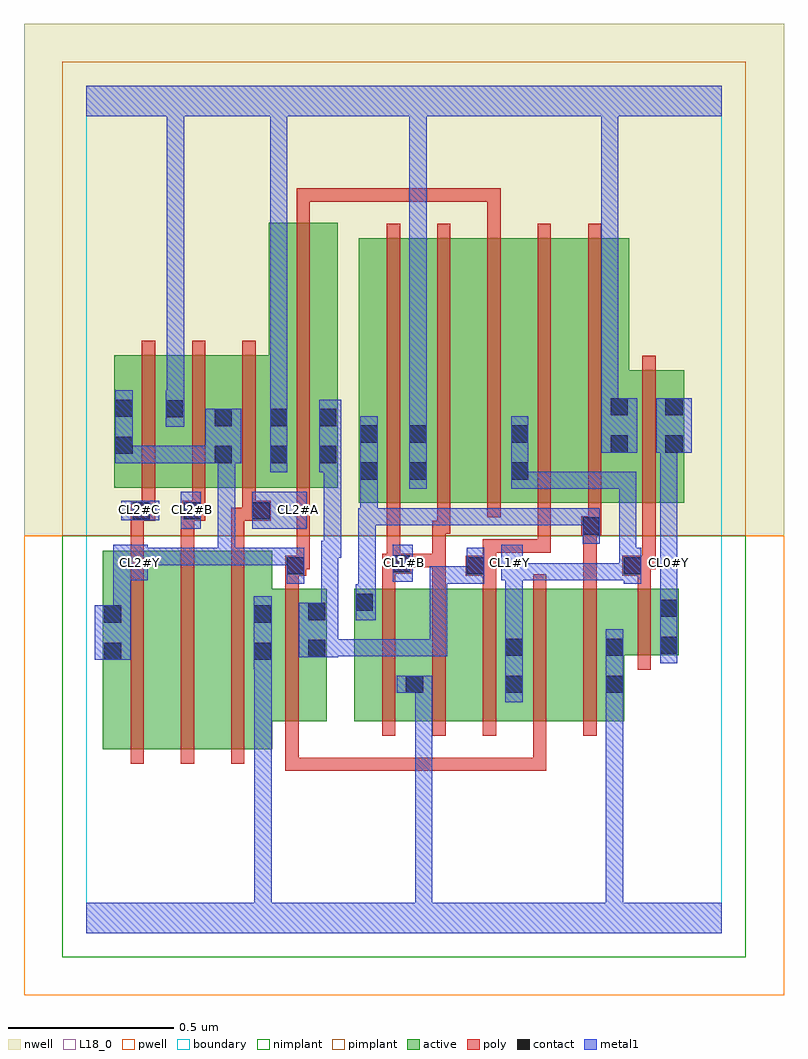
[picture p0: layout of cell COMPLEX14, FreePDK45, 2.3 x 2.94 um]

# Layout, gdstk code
import gdstk
lib = gdstk.Library(unit=1e-6, precision=1e-09)
def R(c, l, rs):  # rectangles x0, y0, x1, y1
    for r in rs: c.add(gdstk.rectangle(r[:2], r[2:], *l))
def A(c, l, x, y, w, h, nx, ny, dx, dy):  # array of equal rectangles
    R(c, l, [(x+i*dx, y+j*dy, x+i*dx+w, y+j*dy+h) for i in range(nx) for j in range(ny)])
active = (1, 0)
pwell = (2, 0)
nwell = (3, 0)
nimplant = (4, 0)
pimplant = (5, 0)
poly = (9, 0)
contact = (10, 0)
metal1 = (11, 0)
L18_0 = (18, 0)
boundary = (235, 0)

complex14 = lib.new_cell('COMPLEX14')
R(complex14, active, [(0.05,0.556,0.23,1.156), (0.05,0.556,0.11,1.156), (0.23,0.556,0.382,1.156), (0.382,0.556,0.562,1.156), (0.502,0.64,0.726,1.04), (0.81,0.64,1.022,1.04), (0.962,0.64,1.142,1.04), (1.142,0.64,1.322,1.04), (1.262,0.64,1.446,1.04), (1.446,0.64,1.626,1.04), (1.566,0.64,1.626,0.894), (0.962,0.722,1.022,1.018), (1.262,0.722,1.322,0.894), (0.502,0.756,0.562,0.994), (0.666,0.756,0.726,1.04), (0.81,0.756,0.87,1.04), (1.566,0.84,1.79,1.04), (1.73,0.84,1.79,1.04), (0.824,1.3,0.884,2.044), (0.824,1.3,1.032,2.1), (0.972,1.3,1.156,2.1), (1.156,1.3,1.34,2.1), (1.28,1.3,1.46,2.1), (1.28,1.3,1.34,2.044), (1.46,1.3,1.64,2.1), (1.58,1.3,1.806,1.7), (1.58,1.3,1.64,1.644), (1.746,1.3,1.806,1.7), (0.084,1.346,0.296,1.746), (0.084,1.346,0.144,1.746), (0.236,1.346,0.296,1.644), (0.236,1.346,0.444,1.746), (0.384,1.346,0.612,1.746), (0.384,1.346,0.444,1.644), (0.552,1.346,0.76,2.146), (0.552,1.346,0.612,1.73), (0.7,1.346,0.76,2.044), (0.972,1.366,1.032,2.044)])
R(complex14, pwell, [(-0.188,-0.188,2.108,1.2)])
R(complex14, nwell, [(-0.188,1.2,2.108,2.748)])
R(complex14, nimplant, [(-0.072,-0.072,1.992,1.2)])
R(complex14, pimplant, [(-0.072,1.2,1.992,2.632)])
A(complex14, poly, 0.134, 0.512, 0.04, 0.688, 3, 1, 0.152, 0)
A(complex14, poly, 0.894, 0.596, 0.04, 0.488, 5, 1, 0.152, 0)
A(complex14, poly, 0.134, 1.16, 0.04, 0.126, 3, 1, 0.152, 0)
A(complex14, poly, 0.908, 1.256, 0.04, 0.888, 5, 1, 0.152, 0)
A(complex14, poly, 0.168, 1.266, 0.04, 0.076, 3, 1, 0.152, 0)
A(complex14, poly, 0.168, 1.302, 0.04, 0.488, 3, 1, 0.152, 0)
R(complex14, poly, [(0.602,0.49,0.642,0.53), (0.602,0.49,0.642,0.636), (0.602,0.49,0.722,0.53), (0.682,0.49,0.722,0.53), (0.682,0.49,0.828,0.53), (0.788,0.49,0.828,0.53), (0.788,0.49,0.828,0.53), (0.788,0.49,0.828,0.53), (0.788,0.49,1.084,0.53), (1.044,0.49,1.084,0.53), (1.044,0.49,1.084,0.53), (1.044,0.49,1.084,0.53), (1.044,0.49,1.192,0.53), (1.152,0.49,1.192,0.53), (1.152,0.49,1.192,0.53), (1.152,0.49,1.192,0.53), (1.152,0.49,1.39,0.53), (1.35,0.49,1.39,0.53), (1.35,0.49,1.39,0.53), (1.35,0.49,1.39,0.53), (1.35,0.49,1.39,0.636), (0.602,0.596,0.642,1.084), (1.666,0.796,1.706,1.084), (0.602,1.044,0.642,1.12), (0.894,1.044,0.934,1.126), (1.046,1.044,1.086,1.146), (1.198,1.044,1.238,1.12), (1.502,1.044,1.542,1.24), (1.666,1.044,1.706,1.12), (0.602,1.08,0.664,1.14), (1.146,1.08,1.238,1.14), (1.62,1.08,1.706,1.14), (0.894,1.086,0.982,1.146), (0.624,1.1,0.664,1.14), (0.624,1.1,0.676,1.14), (0.636,1.1,0.676,1.342), (1.198,1.1,1.238,1.19), (1.666,1.1,1.706,1.14), (1.666,1.1,1.72,1.14), (1.68,1.1,1.72,1.296), (0.908,1.106,0.948,1.146), (0.908,1.106,0.948,1.146), (0.908,1.106,0.948,1.296), (0.942,1.106,0.982,1.146), (0.942,1.106,0.982,1.146), (0.942,1.106,1.086,1.146), (1.046,1.106,1.086,1.146), (1.046,1.106,1.086,1.246), (1.198,1.15,1.238,1.19), (1.198,1.15,1.404,1.19), (1.364,1.15,1.404,1.19), (1.364,1.15,1.404,1.19), (1.364,1.15,1.404,1.19), (1.364,1.15,1.404,1.296), (1.496,1.2,1.556,1.26), (1.502,1.2,1.542,1.24), (1.502,1.2,1.542,1.24), (1.046,1.206,1.1,1.246), (1.06,1.206,1.1,1.296), (1.516,1.22,1.556,1.296), (0.134,1.246,0.176,1.286), (0.136,1.246,0.176,1.286), (0.136,1.246,0.208,1.306), (0.286,1.246,0.33,1.286), (0.29,1.246,0.33,1.286), (0.29,1.246,0.36,1.306), (0.438,1.246,0.512,1.286), (0.472,1.246,0.512,1.286), (0.472,1.246,0.558,1.306), (1.68,1.256,1.72,1.744), (0.636,1.302,0.676,2.19), (1.212,2.104,1.252,2.25), (0.636,2.15,0.676,2.25), (0.636,2.21,0.676,2.25), (0.636,2.21,0.676,2.25), (0.636,2.21,0.676,2.25), (0.636,2.21,0.828,2.25), (0.788,2.21,0.828,2.25), (0.788,2.21,0.828,2.25), (0.788,2.21,0.828,2.25), (0.788,2.21,1.084,2.25), (1.044,2.21,1.084,2.25), (1.044,2.21,1.084,2.25), (1.044,2.21,1.084,2.25), (1.044,2.21,1.252,2.25), (1.212,2.21,1.252,2.25), (1.212,2.21,1.252,2.25), (1.212,2.21,1.252,2.25)])
R(complex14, contact, [(0.966,0.726,1.018,0.778), (1.266,0.726,1.318,0.778), (1.57,0.726,1.622,0.778), (0.054,0.826,0.106,0.878), (0.506,0.826,0.558,0.878), (0.67,0.834,0.722,0.886), (1.266,0.838,1.318,0.89), (1.57,0.838,1.622,0.89), (1.734,0.844,1.786,0.896), (0.054,0.938,0.106,0.99), (0.506,0.938,0.558,0.99), (0.67,0.946,0.722,0.998), (1.734,0.956,1.786,1.008), (0.814,0.974,0.866,1.026), (0.606,1.084,0.658,1.136), (1.15,1.084,1.202,1.136), (1.624,1.084,1.676,1.136), (0.926,1.09,0.978,1.142), (1.5,1.204,1.552,1.256), (0.14,1.25,0.192,1.302), (0.294,1.25,0.346,1.302), (0.502,1.25,0.554,1.302), (0.828,1.37,0.88,1.422), (0.976,1.37,1.028,1.422), (1.284,1.37,1.336,1.422), (0.388,1.42,0.44,1.472), (0.556,1.42,0.608,1.472), (0.704,1.42,0.756,1.472), (0.088,1.448,0.14,1.5), (1.584,1.452,1.636,1.504), (1.75,1.452,1.802,1.504), (0.828,1.482,0.88,1.534), (0.976,1.482,1.028,1.534), (1.284,1.482,1.336,1.534), (0.388,1.532,0.44,1.584), (0.556,1.532,0.608,1.584), (0.704,1.532,0.756,1.584), (0.24,1.558,0.292,1.61), (0.088,1.56,0.14,1.612), (1.584,1.564,1.636,1.616), (1.75,1.564,1.802,1.616)])
R(complex14, metal1, [(0,0,1.92,0.092), (0.508,0.04,0.56,0.092), (0.508,0.04,0.56,0.092), (0.508,0.04,0.56,0.85), (0.994,0.04,1.046,0.092), (0.994,0.04,1.046,0.092), (0.994,0.04,1.046,0.092), (0.994,0.04,1.046,0.092), (0.994,0.04,1.046,0.092), (0.994,0.04,1.046,0.092), (0.994,0.04,1.046,0.092), (0.994,0.04,1.046,0.092), (0.994,0.04,1.046,0.092), (0.994,0.04,1.046,0.092), (0.994,0.04,1.046,0.092), (0.994,0.04,1.046,0.092), (0.994,0.04,1.046,0.778), (1.57,0.04,1.622,0.092), (1.57,0.04,1.622,0.092), (1.57,0.04,1.622,0.092), (1.57,0.04,1.622,0.092), (1.57,0.04,1.622,0.75), (1.266,0.698,1.318,0.918), (1.57,0.698,1.622,0.75), (1.57,0.698,1.622,0.75), (1.57,0.698,1.622,0.75), (1.57,0.698,1.622,0.75), (1.57,0.698,1.622,0.75), (1.57,0.698,1.622,0.75), (1.57,0.698,1.622,0.75), (1.57,0.698,1.622,0.75), (1.57,0.698,1.622,0.918), (0.938,0.726,1.046,0.778), (0.506,0.798,0.56,1.018), (0.508,0.798,0.56,0.85), (0.508,0.798,0.56,0.85), (0.508,0.798,0.56,0.85), (0.508,0.798,0.56,0.85), (0.508,0.798,0.56,0.85), (0.508,0.798,0.56,0.85), (1.734,0.816,1.786,1.036), (0.026,0.826,0.134,0.99), (0.642,0.834,0.762,0.998), (0.71,0.834,0.762,0.886), (0.71,0.834,0.762,0.888), (0.71,0.836,0.88,0.888), (0.828,0.836,0.88,0.888), (0.828,0.836,0.88,0.888), (0.828,0.836,0.88,0.888), (0.828,0.836,1.09,0.888), (1.038,0.836,1.09,0.888), (1.038,0.836,1.09,0.888), (1.038,0.836,1.09,0.888), (1.038,0.836,1.09,1.108), (1.266,0.866,1.318,1.118), (0.082,0.938,0.134,1.118), (0.71,0.946,0.762,1.186), (0.814,0.946,0.874,1.054), (1.734,0.984,1.786,1.118), (0.822,1.002,0.874,1.284), (0.606,1.056,0.658,1.164), (1.038,1.056,1.09,1.108), (1.038,1.056,1.094,1.108), (1.042,1.056,1.094,1.108), (1.042,1.056,1.198,1.108), (1.146,1.056,1.198,1.108), (1.146,1.056,1.202,1.108), (1.15,1.056,1.202,1.164), (1.624,1.056,1.676,1.164), (0.926,1.062,0.986,1.174), (0.082,1.066,0.186,1.174), (1.254,1.066,1.318,1.174), (1.266,1.066,1.318,1.118), (1.266,1.066,1.318,1.118), (1.266,1.066,1.498,1.118), (1.446,1.066,1.498,1.118), (1.446,1.066,1.498,1.118), (1.446,1.066,1.498,1.118), (1.446,1.066,1.662,1.118), (1.61,1.066,1.662,1.118), (1.61,1.066,1.676,1.118), (1.61,1.066,1.662,1.394), (1.734,1.066,1.786,1.174), (0.134,1.112,0.186,1.164), (0.134,1.112,0.186,1.164), (0.134,1.112,0.302,1.164), (0.25,1.112,0.302,1.164), (0.25,1.112,0.302,1.164), (0.25,1.112,0.302,1.164), (0.25,1.112,0.45,1.164), (0.398,1.112,0.45,1.164), (0.398,1.112,0.45,1.164), (0.398,1.112,0.45,1.164), (0.398,1.112,0.456,1.164), (0.398,1.112,0.45,1.472), (0.404,1.112,0.456,1.164), (0.404,1.112,0.584,1.164), (0.532,1.112,0.584,1.164), (0.532,1.112,0.658,1.164), (1.734,1.122,1.786,1.504), (0.71,1.134,0.77,1.186), (0.718,1.134,0.77,1.444), (1.5,1.176,1.552,1.284), (0.286,1.222,0.346,1.334), (0.502,1.222,0.666,1.334), (0.822,1.232,0.874,1.284), (0.822,1.232,0.874,1.284), (0.822,1.232,0.88,1.284), (0.828,1.232,0.88,1.284), (0.828,1.232,0.88,1.284), (0.828,1.232,1.088,1.284), (0.828,1.232,0.88,1.394), (1.036,1.232,1.088,1.284), (1.036,1.232,1.094,1.284), (1.042,1.232,1.094,1.284), (1.042,1.232,1.198,1.284), (1.146,1.232,1.198,1.284), (1.146,1.232,1.208,1.284), (1.156,1.232,1.208,1.284), (1.156,1.232,1.388,1.284), (1.336,1.232,1.388,1.284), (1.336,1.232,1.388,1.284), (1.336,1.232,1.388,1.284), (1.336,1.232,1.498,1.284), (1.446,1.232,1.498,1.284), (1.446,1.232,1.552,1.284), (0.106,1.248,0.22,1.306), (0.828,1.342,0.88,1.562), (0.976,1.342,1.028,1.562), (1.284,1.342,1.336,1.394), (1.284,1.342,1.336,1.394), (1.284,1.342,1.336,1.562), (1.284,1.342,1.498,1.394), (1.446,1.342,1.498,1.394), (1.446,1.342,1.498,1.394), (1.446,1.342,1.498,1.394), (1.446,1.342,1.662,1.394), (1.61,1.342,1.662,1.394), (1.61,1.342,1.662,1.394), (1.61,1.342,1.662,1.394), (0.556,1.392,0.608,1.612), (0.704,1.392,0.77,1.612), (0.718,1.392,0.77,1.444), (0.718,1.392,0.77,1.444), (0.088,1.42,0.14,1.472), (0.088,1.42,0.14,1.472), (0.088,1.42,0.14,1.64), (0.088,1.42,0.296,1.472), (0.244,1.42,0.296,1.472), (0.244,1.42,0.296,1.472), (0.244,1.42,0.296,1.472), (0.244,1.42,0.412,1.472), (0.36,1.42,0.468,1.584), (1.556,1.452,1.664,1.616), (1.722,1.452,1.83,1.616), (1.734,1.452,1.786,1.504), (1.734,1.452,1.786,1.504), (0.976,1.51,1.028,1.562), (0.976,1.51,1.028,1.562), (0.976,1.51,1.028,1.562), (0.976,1.51,1.028,1.562), (0.976,1.51,1.028,2.52), (0.24,1.53,0.296,1.638), (0.556,1.56,0.608,1.612), (0.556,1.56,0.608,1.612), (0.556,1.56,0.608,1.612), (0.556,1.56,0.608,1.612), (0.556,1.56,0.608,1.612), (0.556,1.56,0.608,1.612), (0.556,1.56,0.608,1.612), (0.556,1.56,0.608,1.612), (0.556,1.56,0.608,2.52), (1.556,1.564,1.608,1.616), (1.556,1.564,1.608,1.616), (1.556,1.564,1.608,1.616), (1.556,1.564,1.608,1.616), (1.556,1.564,1.608,1.616), (1.556,1.564,1.608,1.616), (1.556,1.564,1.608,1.616), (1.556,1.564,1.608,1.616), (1.556,1.564,1.608,2.52), (0.244,1.586,0.296,1.638), (0.244,1.586,0.296,1.638), (0.244,1.586,0.296,2.52), (0,2.468,1.92,2.56), (0.244,2.468,0.296,2.52), (0.244,2.468,0.296,2.52), (0.244,2.468,0.296,2.52), (0.244,2.468,0.296,2.52), (0.244,2.468,0.296,2.52), (0.244,2.468,0.296,2.52), (0.244,2.468,0.296,2.52), (0.244,2.468,0.296,2.52), (0.244,2.468,0.296,2.52), (0.244,2.468,0.296,2.52), (0.244,2.468,0.296,2.52), (0.244,2.468,0.296,2.52), (0.244,2.468,0.296,2.52), (0.244,2.468,0.296,2.52), (0.976,2.468,1.028,2.52), (0.976,2.468,1.028,2.52), (0.976,2.468,1.028,2.52), (0.976,2.468,1.028,2.52)])
R(complex14, L18_0, [(0,0,1.92,0.092), (0.508,0.04,0.56,0.092), (0.508,0.04,0.56,0.092), (0.508,0.04,0.56,0.85), (0.994,0.04,1.046,0.092), (0.994,0.04,1.046,0.092), (0.994,0.04,1.046,0.092), (0.994,0.04,1.046,0.092), (0.994,0.04,1.046,0.092), (0.994,0.04,1.046,0.092), (0.994,0.04,1.046,0.092), (0.994,0.04,1.046,0.092), (0.994,0.04,1.046,0.092), (0.994,0.04,1.046,0.092), (0.994,0.04,1.046,0.092), (0.994,0.04,1.046,0.092), (0.994,0.04,1.046,0.778), (1.57,0.04,1.622,0.092), (1.57,0.04,1.622,0.092), (1.57,0.04,1.622,0.092), (1.57,0.04,1.622,0.092), (1.57,0.04,1.622,0.75), (1.266,0.698,1.318,0.918), (1.57,0.698,1.622,0.918), (1.57,0.698,1.622,0.75), (1.57,0.698,1.622,0.75), (1.57,0.698,1.622,0.75), (1.57,0.698,1.622,0.75), (1.57,0.698,1.622,0.75), (1.57,0.698,1.622,0.75), (1.57,0.698,1.622,0.75), (1.57,0.698,1.622,0.75), (0.938,0.726,1.046,0.778), (0.506,0.798,0.56,1.018), (0.508,0.798,0.56,0.85), (0.508,0.798,0.56,0.85), (0.508,0.798,0.56,0.85), (0.508,0.798,0.56,0.85), (0.508,0.798,0.56,0.85), (0.508,0.798,0.56,0.85), (1.734,0.816,1.786,1.036), (0.026,0.826,0.134,0.99), (1.266,0.866,1.318,1.118), (0.082,0.938,0.134,1.118), (1.734,0.984,1.786,1.118), (0.606,1.056,0.658,1.164), (1.624,1.056,1.676,1.164), (0.926,1.062,0.986,1.174), (0.082,1.066,0.186,1.174), (1.254,1.066,1.318,1.174), (1.266,1.066,1.318,1.118), (1.266,1.066,1.318,1.118), (1.266,1.066,1.498,1.118), (1.446,1.066,1.498,1.118), (1.446,1.066,1.498,1.118), (1.446,1.066,1.498,1.118), (1.446,1.066,1.662,1.118), (1.61,1.066,1.662,1.118), (1.61,1.066,1.662,1.394), (1.61,1.066,1.676,1.118), (1.734,1.066,1.786,1.174), (0.134,1.094,0.186,1.146), (0.934,1.094,0.986,1.146), (1.254,1.094,1.306,1.146), (1.734,1.094,1.786,1.146), (0.134,1.112,0.186,1.164), (0.134,1.112,0.186,1.164), (0.134,1.112,0.302,1.164), (0.25,1.112,0.302,1.164), (0.25,1.112,0.302,1.164), (0.25,1.112,0.302,1.164), (0.25,1.112,0.45,1.164), (0.398,1.112,0.45,1.164), (0.398,1.112,0.45,1.164), (0.398,1.112,0.45,1.164), (0.398,1.112,0.45,1.472), (0.398,1.112,0.456,1.164), (0.404,1.112,0.456,1.164), (0.404,1.112,0.584,1.164), (0.532,1.112,0.584,1.164), (0.532,1.112,0.658,1.164), (1.734,1.122,1.786,1.504), (0.286,1.222,0.346,1.334), (0.502,1.222,0.666,1.334), (0.106,1.248,0.22,1.306), (0.134,1.254,0.186,1.306), (0.294,1.254,0.346,1.306), (0.614,1.254,0.666,1.306), (0.976,1.342,1.028,1.562), (1.284,1.342,1.336,1.562), (1.284,1.342,1.336,1.394), (1.284,1.342,1.336,1.394), (1.284,1.342,1.498,1.394), (1.446,1.342,1.498,1.394), (1.446,1.342,1.498,1.394), (1.446,1.342,1.498,1.394), (1.446,1.342,1.662,1.394), (1.61,1.342,1.662,1.394), (1.61,1.342,1.662,1.394), (1.61,1.342,1.662,1.394), (0.556,1.392,0.608,1.612), (0.088,1.42,0.14,1.64), (0.088,1.42,0.14,1.472), (0.088,1.42,0.14,1.472), (0.088,1.42,0.296,1.472), (0.244,1.42,0.296,1.472), (0.244,1.42,0.296,1.472), (0.244,1.42,0.296,1.472), (0.244,1.42,0.412,1.472), (0.36,1.42,0.468,1.584), (1.556,1.452,1.664,1.616), (1.722,1.452,1.83,1.616), (1.734,1.452,1.786,1.504), (1.734,1.452,1.786,1.504), (0.976,1.51,1.028,1.562), (0.976,1.51,1.028,1.562), (0.976,1.51,1.028,1.562), (0.976,1.51,1.028,1.562), (0.976,1.51,1.028,2.52), (0.24,1.53,0.296,1.638), (0.556,1.56,0.608,1.612), (0.556,1.56,0.608,1.612), (0.556,1.56,0.608,1.612), (0.556,1.56,0.608,1.612), (0.556,1.56,0.608,1.612), (0.556,1.56,0.608,1.612), (0.556,1.56,0.608,1.612), (0.556,1.56,0.608,1.612), (0.556,1.56,0.608,2.52), (1.556,1.564,1.608,1.616), (1.556,1.564,1.608,1.616), (1.556,1.564,1.608,1.616), (1.556,1.564,1.608,1.616), (1.556,1.564,1.608,1.616), (1.556,1.564,1.608,1.616), (1.556,1.564,1.608,1.616), (1.556,1.564,1.608,1.616), (1.556,1.564,1.608,2.52), (0.244,1.586,0.296,1.638), (0.244,1.586,0.296,1.638), (0.244,1.586,0.296,2.52), (0,2.468,1.92,2.56), (0.244,2.468,0.296,2.52), (0.244,2.468,0.296,2.52), (0.244,2.468,0.296,2.52), (0.244,2.468,0.296,2.52), (0.244,2.468,0.296,2.52), (0.244,2.468,0.296,2.52), (0.244,2.468,0.296,2.52), (0.244,2.468,0.296,2.52), (0.244,2.468,0.296,2.52), (0.244,2.468,0.296,2.52), (0.244,2.468,0.296,2.52), (0.244,2.468,0.296,2.52), (0.244,2.468,0.296,2.52), (0.244,2.468,0.296,2.52), (0.976,2.468,1.028,2.52), (0.976,2.468,1.028,2.52), (0.976,2.468,1.028,2.52), (0.976,2.468,1.028,2.52)])
R(complex14, boundary, [(0,0,1.92,2.56)])
complex14.add(gdstk.Label('CL0#Y', (1.76,1.12), layer=11, texttype=0))
complex14.add(gdstk.Label('CL1#B', (0.96,1.12), layer=11, texttype=0))
complex14.add(gdstk.Label('CL1#Y', (1.28,1.12), layer=11, texttype=0))
complex14.add(gdstk.Label('CL2#A', (0.64,1.28), layer=11, texttype=0))
complex14.add(gdstk.Label('CL2#B', (0.32,1.28), layer=11, texttype=0))
complex14.add(gdstk.Label('CL2#C', (0.16,1.28), layer=11, texttype=0))
complex14.add(gdstk.Label('CL2#Y', (0.16,1.12), layer=11, texttype=0))

lib.write_gds('COMPLEX14.gds')
